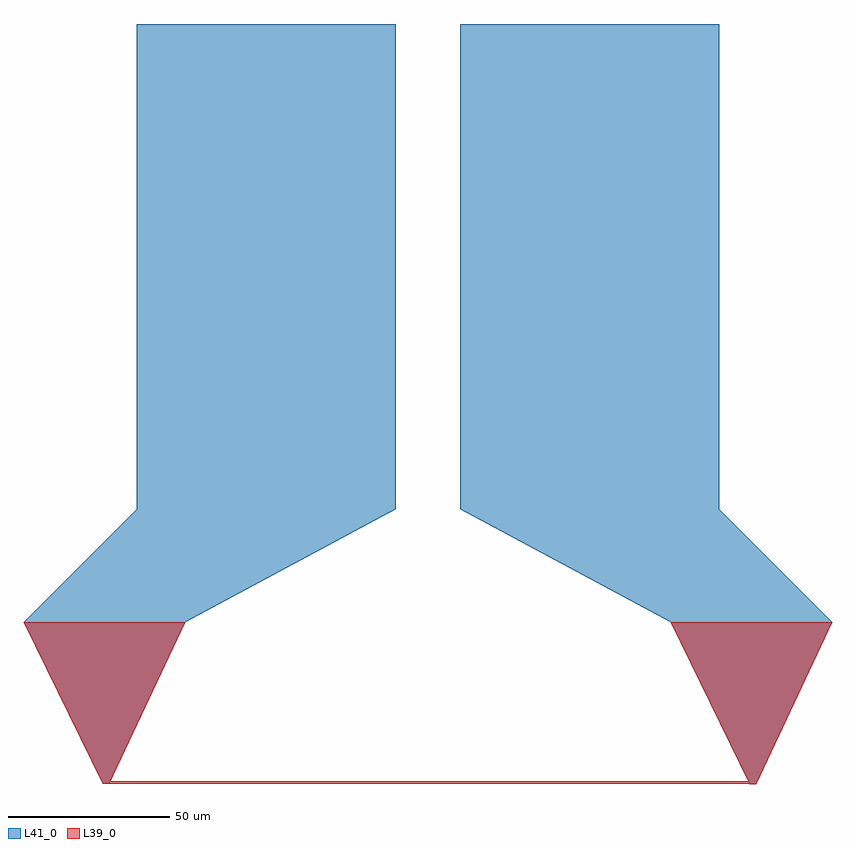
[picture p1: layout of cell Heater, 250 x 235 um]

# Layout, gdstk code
import gdstk
lib = gdstk.Library(unit=1e-6, precision=1e-09)
def R(c, l, rs):  # rectangles x0, y0, x1, y1
    for r in rs: c.add(gdstk.rectangle(r[:2], r[2:], *l))
def P(c, l, *ps):  # polygons
    for p in ps: c.add(gdstk.Polygon(p, *l))
L39_0 = (39, 0)
L41_0 = (41, 0)

heater = lib.new_cell('Heater')
R(heater, L39_0, [(-100.587,-141.174,101.413,-140.274)])
P(heater, L39_0, [(-100.587,-141.174),(-125.086,-91.174),(-75.086,-91.174),(-98.585,-141.174)],
  [(99.415,-141.178),(74.916,-91.178),(124.916,-91.178),(101.417,-141.178)])
R(heater, L41_0, [(-90.086,-56.174,-10.086,93.826), (9.914,-56.174,89.914,93.826)])
P(heater, L41_0, [(-100.587,-141.174),(-125.086,-91.174),(-75.086,-91.174),(-98.585,-141.174)],
  [(99.415,-141.178),(74.916,-91.178),(124.916,-91.178),(101.417,-141.178)],
  [(74.916,-91.178),(9.914,-56.174),(89.914,-56.174),(124.916,-91.178)],
  [(-125.086,-91.174),(-90.086,-56.174),(-10.086,-56.174),(-75.086,-91.174)])

lib.write_gds('Heater.gds')
